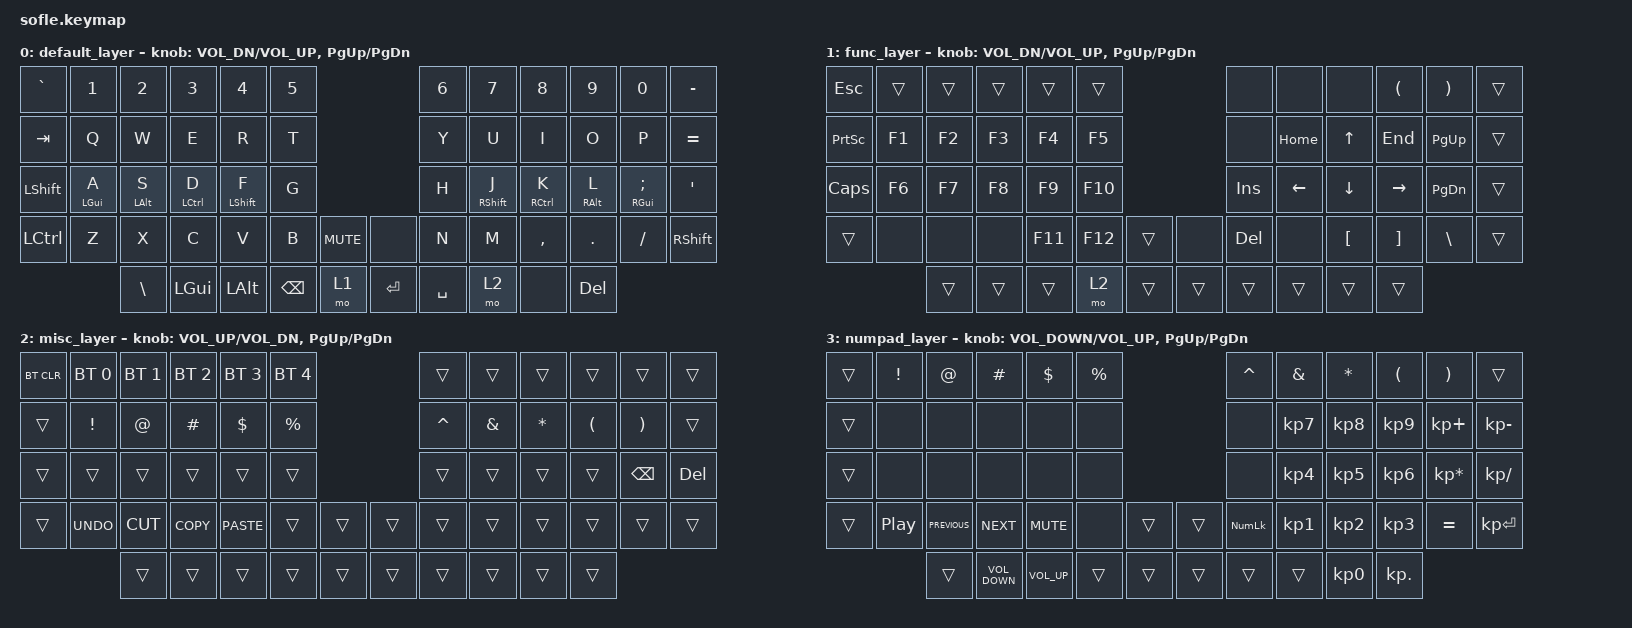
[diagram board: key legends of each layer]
/*
 * Copyright (c) 2020 The ZMK Contributors
 *
 * SPDX-License-Identifier: MIT
 */

#include <behaviors.dtsi>
#include <dt-bindings/zmk/bt.h>
#include <dt-bindings/zmk/keys.h>

#define BASE 0
#define LOWER 1
#define RAISE 2
#define ADJUST 3

/ {
    // Activate ADJUST layer by pressing raise and lower

    conditional_layers {
        compatible = "zmk,conditional-layers";

        adjust_layer {
            if-layers = <1 2>;
            then-layer = <3>;
        };
    };

    behaviors {
        hm: hm {
            compatible = "zmk,behavior-hold-tap";
            label = "HOMEROW_MODS";
            bindings = <&kp>, <&kp>;

            #binding-cells = <2>;
            tapping-term-ms = <285>;
            quick-tap-ms = <175>;
            flavor = "balanced";
        };
    };

    keymap {
        compatible = "zmk,keymap";

        default_layer {
            // ------------------------------------------------------------------------------------------------------------
            // |  `    |  1  |  2  |  3   |  4   |  5   |                   |  6   |  7    |  8    |  9   |   0   |       |
            // |  ESC  |  Q  |  W  |  E   |  R   |  T   |                   |  Y   |  U    |  I    |  O   |   P   | BKSPC |
            // |  TAB  |  A  |  S  |  D   |  F   |  G   |                   |  H   |  J    |  K    |  L   |   ;   |   '   |
            // | SHIFT |  Z  |  X  |  C   |  V   |  B   |  MUTE  |  |       |  N   |  M    |  ,    |  .   |   /   | SHIFT |
            //               | GUI | ALT  | CTRL | LOWER|  ENTER |  | SPACE | RAISE| CTRL  | ALT   | GUI  |

            bindings = <
&kp GRAVE       &kp N1          &kp N2          &kp N3        &kp N4            &kp N5                                &kp N6     &kp N7             &kp N8               &kp N9           &kp N0                   &kp MINUS
&kp TAB         &kp Q           &kp W           &kp E         &kp R             &kp T                                 &kp Y      &kp U              &kp I                &kp O            &kp P                    &kp EQUAL
&kp LEFT_SHIFT  &hm LEFT_GUI A  &hm LEFT_ALT S  &hm LCTRL D   &hm LEFT_SHIFT F  &kp G                                 &kp H      &hm RIGHT_SHIFT J  &hm RIGHT_CONTROL K  &hm RIGHT_ALT L  &hm RIGHT_GUI SEMICOLON  &kp SQT
&kp LCTRL       &kp Z           &kp X           &kp C         &kp V             &kp B          &kp C_MUTE  &none      &kp N      &kp M              &kp COMMA            &kp DOT          &kp FSLH                 &kp RSHFT
                                &kp BACKSLASH   &kp LEFT_GUI  &kp LEFT_ALT      &kp BACKSPACE  &mo 1       &kp ENTER  &kp SPACE  &mo 2              &none                &kp DELETE
            >;

            sensor-bindings =
                <&inc_dec_kp C_VOL_DN C_VOL_UP>,
                <&inc_dec_kp PAGE_UP PG_DN>;
        };

        func_layer {
            // TODO: Some binds are waiting for shifted keycode support.
            // ------------------------------------------------------------------------------------------------------------
            // |       |  F1 |  F2 |  F3  |  F4  |  F5  |                   |  F6  |  F7   |  F8   |  F9  |  F10  |  F11  |
            // | `     |   1 |   2 |   3  |   4  |   5  |                   |   6  |   7   |   8   |   9  |    0  |  F12  |
            // |       |  !  |  @  |  #   |  $   |  %   |                   |  ^   |  &    |  *    |  (   |   )   |   |   |
            // |       |  =  |  -  |  +   |  {   |  }   |        |  |       |  [   |  ]    |  ;    |  :   |   \   |       |
            //               |     |      |      |      |        |  |       |      |       |       |      |

            bindings = <
&kp ESCAPE       &trans  &trans  &trans  &trans   &trans                   &none       &none           &none             &kp LPAR           &kp RPAR       &trans
&kp PRINTSCREEN  &kp F1  &kp F2  &kp F3  &kp F4   &kp F5                   &none       &kp HOME        &kp UP_ARROW      &kp END            &kp PG_UP      &trans
&kp CAPS         &kp F6  &kp F7  &kp F8  &kp F9   &kp F10                  &kp INSERT  &kp LEFT_ARROW  &kp DOWN_ARROW    &kp RIGHT_ARROW    &kp PAGE_DOWN  &trans
&trans           &none   &none   &none   &kp F11  &kp F12  &trans  &none   &kp DELETE  &none           &kp LEFT_BRACKET  &kp RIGHT_BRACKET  &kp BSLH       &trans
                         &trans  &trans  &trans   &mo 2    &trans  &trans  &trans      &trans          &trans            &trans
            >;

            sensor-bindings =
                <&inc_dec_kp C_VOL_DN C_VOL_UP>,
                <&inc_dec_kp PG_UP PG_DN>;
        };

        misc_layer {
            // ------------------------------------------------------------------------------------------------------------
            // |BTCLR| BT1  | BT2  |  BT3  |  BT4  |  BT5 |                |      |      |       |      |       |       |
            // |     | INS  | PSCR | GUI   |       |      |                | PGUP |      |   ^   |      |       |       |
            // |     | ALT  | CTRL | SHIFT |       | CAPS |                | PGDN |   <- |   v   |  ->  |  DEL  | BKSPC |
            // |     | UNDO | CUT  | COPY  | PASTE |      |      |  |      |      |      |       |      |       |       |
            //              |      |       |       |      |      |  |      |      |      |       |      |

            bindings = <
&bt BT_CLR  &bt BT_SEL 0  &bt BT_SEL 1  &bt BT_SEL 2  &bt BT_SEL 3  &bt BT_SEL 4                  &trans     &trans    &trans    &trans    &trans         &trans
&trans      &kp EXCL      &kp AT        &kp HASH      &kp DLLR      &kp PRCNT                     &kp CARET  &kp AMPS  &kp STAR  &kp LPAR  &kp RPAR       &trans
&trans      &trans        &trans        &trans        &trans        &trans                        &trans     &trans    &trans    &trans    &kp BACKSPACE  &kp DELETE
&trans      &kp K_UNDO    &kp K_CUT     &kp K_COPY    &kp K_PASTE   &trans        &trans  &trans  &trans     &trans    &trans    &trans    &trans         &trans
                          &trans        &trans        &trans        &trans        &trans  &trans  &trans     &trans    &trans    &trans
            >;

            sensor-bindings = <&inc_dec_kp C_VOL_UP C_VOL_DN &inc_dec_kp PG_UP PG_DN>;
        };

        numpad_layer {
            bindings = <
&trans  &kp EXCL          &kp AT          &kp HASH           &kp DLLR         &kp PRCNT                  &kp CARET   &kp AMPS         &kp STAR         &kp LPAR         &kp RPAR         &trans
&trans  &none             &none           &none              &none            &none                      &none       &kp KP_NUMBER_7  &kp KP_NUMBER_8  &kp KP_NUMBER_9  &kp KP_PLUS      &kp KP_MINUS
&trans  &none             &none           &none              &none            &none                      &none       &kp KP_NUMBER_4  &kp KP_NUMBER_5  &kp KP_NUMBER_6  &kp KP_MULTIPLY  &kp KP_DIVIDE
&trans  &kp C_PLAY_PAUSE  &kp C_PREVIOUS  &kp C_NEXT         &kp C_MUTE       &none      &trans  &trans  &kp KP_NUM  &kp KP_NUMBER_1  &kp KP_NUMBER_2  &kp KP_NUMBER_3  &kp EQUAL        &kp KP_ENTER
                          &trans          &kp C_VOLUME_DOWN  &kp C_VOLUME_UP  &trans     &trans  &trans  &trans      &trans           &kp KP_NUMBER_0  &kp KP_DOT
            >;

            sensor-bindings =
                <&inc_dec_kp C_VOLUME_DOWN C_VOLUME_UP>,
                <&inc_dec_kp PAGE_UP PAGE_DOWN>;
        };
    };
};
